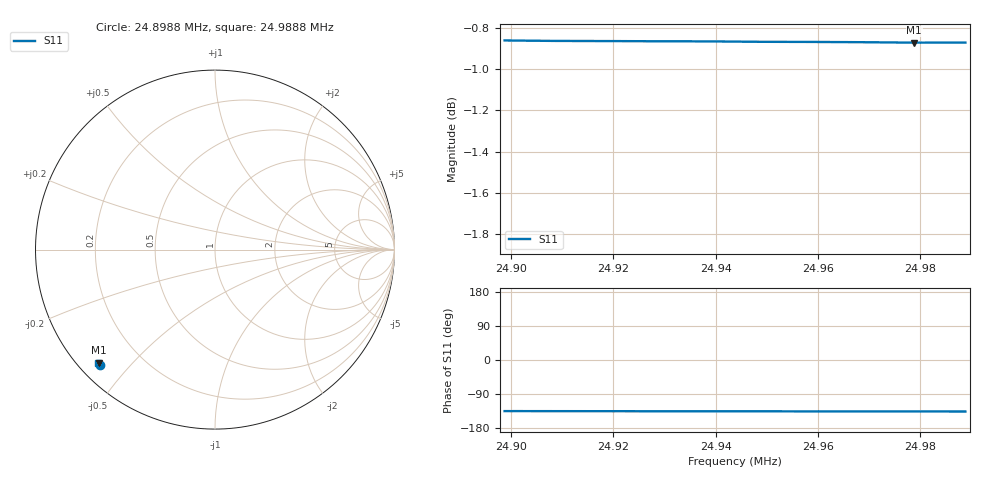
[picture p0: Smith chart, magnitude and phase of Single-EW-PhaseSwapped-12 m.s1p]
# HZ S RI R 50
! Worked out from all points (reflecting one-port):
!   10 points, 24.8988 MHz to 24.9888 MHz, reference 50 ohm
!   lowest |S11| = -0.9 dB at 24.9788 MHz (marker M1), VSWR 19.97, Z = 2.92 - j20.2 ohm
!   phase of S11 starts at -135 deg and turns -1 deg over the sweep
2.489876e7  -0.639 -0.6419
2.490876e7  -0.6401 -0.6404
2.491876e7  -0.6415 -0.639
2.492877e7  -0.6426 -0.6376
2.493877e7  -0.6438 -0.6364
2.494878e7  -0.645 -0.6349
2.495878e7  -0.6463 -0.6335
2.496878e7  -0.6473 -0.6322
2.497879e7  -0.6485 -0.6306
2.498879e7  -0.6498 -0.6294
